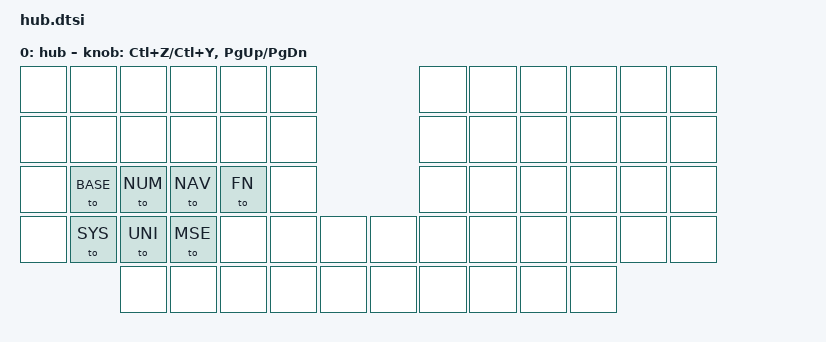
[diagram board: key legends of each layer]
/ {
    keymap {
        compatible = "zmk,keymap";
        
        hub {
            display-name = "hub";
            bindings = <
&none          &none          &none         &none         &none           &none                                         &none           &none           &none         &none           &none             &none
&none          &none          &none         &none         &none           &none                                         &none           &none           &none         &none           &none             &none
&none          &to BASE       &to NUM       &to NAV       &to FN          &none                                         &none           &none           &none         &none           &none             &none
&none          &to SYS        &to UNI       &to MSE       &none           &none            &none          &none         &none           &none           &none         &none           &none             &none
                              &none         &none         &none           &none            &none          &none         &none           &none           &none         &none
            >;

            sensor-bindings = <&inc_dec_kp LC(Z) LC(Y) &inc_dec_kp PG_UP PG_DN>;
        };
    };
};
